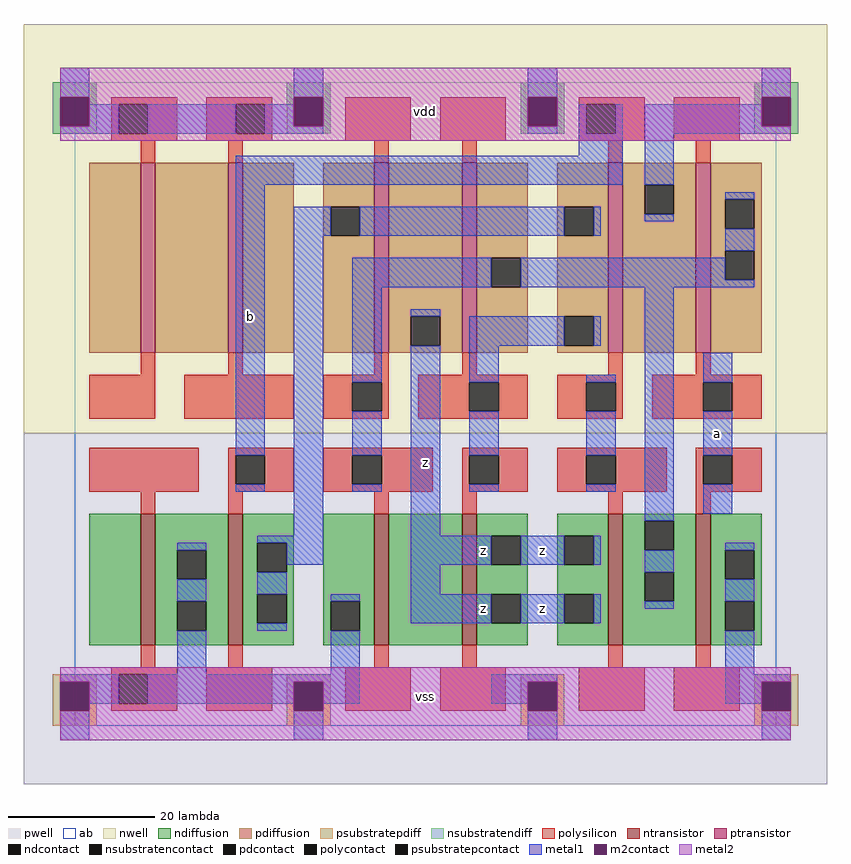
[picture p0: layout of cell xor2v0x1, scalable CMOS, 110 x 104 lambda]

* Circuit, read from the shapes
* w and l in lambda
.subckt xor2v0x1 a b vdd vss z
M1 vss vss n1 vss nfet w=18 l=2
M2 n2 b vss vss nfet w=18 l=2
M3 n3 n4 vss vss nfet w=18 l=2
M4 z n2 n3 vss nfet w=18 l=2
M5 n4 b z vss nfet w=18 l=2
M6 vss a n4 vss nfet w=18 l=2
M7 n5 vdd n6 vdd pfet w=26 l=2
M8 n7 vdd n5 vdd pfet w=26 l=2
M9 z n4 n2 vdd pfet w=26 l=2
M10 n4 n2 z vdd pfet w=26 l=2
M11 vdd b n2 vdd pfet w=26 l=2
M12 n4 a vdd vdd pfet w=26 l=2
.ends

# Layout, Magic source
magic
tech scmos
<< ab >>
rect 0 0 96 88
<< pwell >>
rect -7 -8 103 40
<< nwell >>
rect -7 40 103 96
<< polysilicon >>
rect 5 85 14 86
rect 5 81 6 85
rect 10 81 14 85
rect 5 80 14 81
rect 18 85 27 86
rect 18 81 22 85
rect 26 81 27 85
rect 18 80 27 81
rect 37 80 46 86
rect 50 80 59 86
rect 69 85 78 86
rect 69 81 70 85
rect 74 81 78 85
rect 69 80 78 81
rect 82 80 91 86
rect 9 77 11 80
rect 21 77 23 80
rect 41 77 43 80
rect 53 77 55 80
rect 73 77 75 80
rect 85 77 87 80
rect 9 48 11 51
rect 21 48 23 51
rect 41 48 43 51
rect 53 48 55 51
rect 73 48 75 51
rect 85 48 87 51
rect 2 42 11 48
rect 15 42 30 48
rect 34 47 43 48
rect 34 43 38 47
rect 42 43 43 47
rect 34 42 43 43
rect 47 47 62 48
rect 47 43 54 47
rect 58 43 62 47
rect 47 42 62 43
rect 66 47 75 48
rect 66 43 70 47
rect 74 43 75 47
rect 66 42 75 43
rect 79 47 94 48
rect 79 43 86 47
rect 90 43 94 47
rect 79 42 94 43
rect 2 32 17 38
rect 21 37 30 38
rect 21 33 22 37
rect 26 33 30 37
rect 21 32 30 33
rect 34 37 49 38
rect 34 33 38 37
rect 42 33 49 37
rect 34 32 49 33
rect 53 37 62 38
rect 53 33 54 37
rect 58 33 62 37
rect 53 32 62 33
rect 66 37 81 38
rect 66 33 70 37
rect 74 33 81 37
rect 66 32 81 33
rect 85 37 94 38
rect 85 33 86 37
rect 90 33 94 37
rect 85 32 94 33
rect 9 29 11 32
rect 21 29 23 32
rect 41 29 43 32
rect 53 29 55 32
rect 73 29 75 32
rect 85 29 87 32
rect 9 8 11 11
rect 21 8 23 11
rect 41 8 43 11
rect 53 8 55 11
rect 73 8 75 11
rect 85 8 87 11
rect 5 7 14 8
rect 5 3 6 7
rect 10 3 14 7
rect 5 2 14 3
rect 18 2 27 8
rect 37 2 46 8
rect 50 2 59 8
rect 69 2 78 8
rect 82 2 91 8
<< ndiffusion >>
rect 2 11 9 29
rect 11 24 21 29
rect 11 20 14 24
rect 18 20 21 24
rect 11 17 21 20
rect 11 13 14 17
rect 18 13 21 17
rect 11 11 21 13
rect 23 25 30 29
rect 23 21 25 25
rect 29 21 30 25
rect 23 18 30 21
rect 23 14 25 18
rect 29 14 30 18
rect 23 11 30 14
rect 34 17 41 29
rect 34 13 35 17
rect 39 13 41 17
rect 34 11 41 13
rect 43 11 53 29
rect 55 26 62 29
rect 55 22 57 26
rect 61 22 62 26
rect 55 18 62 22
rect 55 14 57 18
rect 61 14 62 18
rect 55 11 62 14
rect 66 26 73 29
rect 66 22 67 26
rect 71 22 73 26
rect 66 18 73 22
rect 66 14 67 18
rect 71 14 73 18
rect 66 11 73 14
rect 75 28 85 29
rect 75 24 78 28
rect 82 24 85 28
rect 75 21 85 24
rect 75 17 78 21
rect 82 17 85 21
rect 75 11 85 17
rect 87 24 94 29
rect 87 20 89 24
rect 93 20 94 24
rect 87 17 94 20
rect 87 13 89 17
rect 93 13 94 17
rect 87 11 94 13
<< pdiffusion >>
rect 2 51 9 77
rect 11 51 21 77
rect 23 51 30 77
rect 34 71 41 77
rect 34 67 35 71
rect 39 67 41 71
rect 34 51 41 67
rect 43 56 53 77
rect 43 52 46 56
rect 50 52 53 56
rect 43 51 53 52
rect 55 64 62 77
rect 55 60 57 64
rect 61 60 62 64
rect 55 51 62 60
rect 66 71 73 77
rect 66 67 67 71
rect 71 67 73 71
rect 66 56 73 67
rect 66 52 67 56
rect 71 52 73 56
rect 66 51 73 52
rect 75 74 85 77
rect 75 70 78 74
rect 82 70 85 74
rect 75 51 85 70
rect 87 72 94 77
rect 87 68 89 72
rect 93 68 94 72
rect 87 65 94 68
rect 87 61 89 65
rect 93 61 94 65
rect 87 51 94 61
<< metal1 >>
rect -2 86 2 90
rect 30 86 34 90
rect 2 82 6 85
rect -2 81 6 82
rect 10 81 22 85
rect 26 82 30 85
rect 26 81 34 82
rect 62 86 66 90
rect 94 86 98 90
rect 62 81 66 82
rect 69 81 70 85
rect 74 81 75 85
rect 69 78 75 81
rect 22 74 75 78
rect 78 82 94 85
rect 78 81 98 82
rect 78 74 82 81
rect 22 37 26 74
rect 22 32 26 33
rect 30 67 35 71
rect 39 67 67 71
rect 71 67 72 71
rect 78 69 82 70
rect 89 72 93 73
rect 30 26 34 67
rect 89 65 93 68
rect 38 60 57 64
rect 61 61 89 64
rect 61 60 93 61
rect 38 47 42 60
rect 38 37 42 43
rect 38 32 42 33
rect 46 56 50 57
rect 25 25 34 26
rect 14 24 18 25
rect 14 17 18 20
rect 29 22 34 25
rect 46 26 50 52
rect 54 52 67 56
rect 71 52 72 56
rect 54 47 58 52
rect 54 37 58 43
rect 54 32 58 33
rect 70 47 74 48
rect 70 37 74 43
rect 70 32 74 33
rect 78 28 82 60
rect 86 47 90 51
rect 86 37 90 43
rect 86 29 90 33
rect 46 22 57 26
rect 61 22 67 26
rect 71 22 72 26
rect 25 18 29 21
rect 46 18 50 22
rect 78 21 82 24
rect 25 13 29 14
rect 35 17 39 18
rect 46 14 57 18
rect 61 14 67 18
rect 71 14 72 18
rect 78 16 82 17
rect 89 24 93 25
rect 89 17 93 20
rect 14 7 18 13
rect 35 7 39 13
rect 89 7 93 13
rect -2 6 6 7
rect 2 3 6 6
rect 10 6 39 7
rect 10 3 30 6
rect -2 -2 2 2
rect 34 3 39 6
rect 57 6 66 7
rect 57 3 62 6
rect 30 -2 34 2
rect 89 6 98 7
rect 89 3 94 6
rect 62 -2 66 2
rect 94 -2 98 2
<< metal2 >>
rect -2 86 98 90
rect 2 82 30 86
rect 34 82 62 86
rect 66 82 94 86
rect -2 80 98 82
rect -2 6 98 8
rect 2 2 30 6
rect 34 2 62 6
rect 66 2 94 6
rect -2 -2 98 2
<< ntransistor >>
rect 9 11 11 29
rect 21 11 23 29
rect 41 11 43 29
rect 53 11 55 29
rect 73 11 75 29
rect 85 11 87 29
<< ptransistor >>
rect 9 51 11 77
rect 21 51 23 77
rect 41 51 43 77
rect 53 51 55 77
rect 73 51 75 77
rect 85 51 87 77
<< polycontact >>
rect 6 81 10 85
rect 22 81 26 85
rect 70 81 74 85
rect 38 43 42 47
rect 54 43 58 47
rect 70 43 74 47
rect 86 43 90 47
rect 22 33 26 37
rect 38 33 42 37
rect 54 33 58 37
rect 70 33 74 37
rect 86 33 90 37
rect 6 3 10 7
<< ndcontact >>
rect 14 20 18 24
rect 14 13 18 17
rect 25 21 29 25
rect 25 14 29 18
rect 35 13 39 17
rect 57 22 61 26
rect 57 14 61 18
rect 67 22 71 26
rect 67 14 71 18
rect 78 24 82 28
rect 78 17 82 21
rect 89 20 93 24
rect 89 13 93 17
<< pdcontact >>
rect 35 67 39 71
rect 46 52 50 56
rect 57 60 61 64
rect 67 67 71 71
rect 67 52 71 56
rect 78 70 82 74
rect 89 68 93 72
rect 89 61 93 65
<< m2contact >>
rect -2 82 2 86
rect 30 82 34 86
rect 62 82 66 86
rect 94 82 98 86
rect -2 2 2 6
rect 30 2 34 6
rect 62 2 66 6
rect 94 2 98 6
<< psubstratepcontact >>
rect -2 2 2 6
rect 30 2 34 6
rect 62 2 66 6
rect 94 2 98 6
<< nsubstratencontact >>
rect -2 82 2 86
rect 30 82 34 86
rect 62 82 66 86
rect 94 82 98 86
<< psubstratepdiff >>
rect -3 6 3 7
rect -3 2 -2 6
rect 2 2 3 6
rect 29 6 35 7
rect 29 2 30 6
rect 34 2 35 6
rect 61 6 67 7
rect 61 2 62 6
rect 66 2 67 6
rect 93 6 99 7
rect 93 2 94 6
rect 98 2 99 6
rect -3 0 3 2
rect 29 0 35 2
rect 61 0 67 2
rect 93 0 99 2
<< nsubstratendiff >>
rect -3 86 3 88
rect 29 86 35 88
rect 61 86 67 88
rect 93 86 99 88
rect -3 82 -2 86
rect 2 82 3 86
rect -3 81 3 82
rect 29 82 30 86
rect 34 82 35 86
rect 29 81 35 82
rect 61 82 62 86
rect 66 82 67 86
rect 61 81 67 82
rect 93 82 94 86
rect 98 82 99 86
rect 93 81 99 82
<< labels >>
rlabel metal1 24 56 24 56 6 b
rlabel metal1 56 16 56 16 6 z
rlabel metal1 56 24 56 24 6 z
rlabel metal1 48 36 48 36 6 z
rlabel metal1 64 16 64 16 6 z
rlabel metal1 64 24 64 24 6 z
rlabel metal1 88 40 88 40 6 a
rlabel metal2 48 4 48 4 6 vss
rlabel metal2 48 84 48 84 6 vdd
<< end >>
